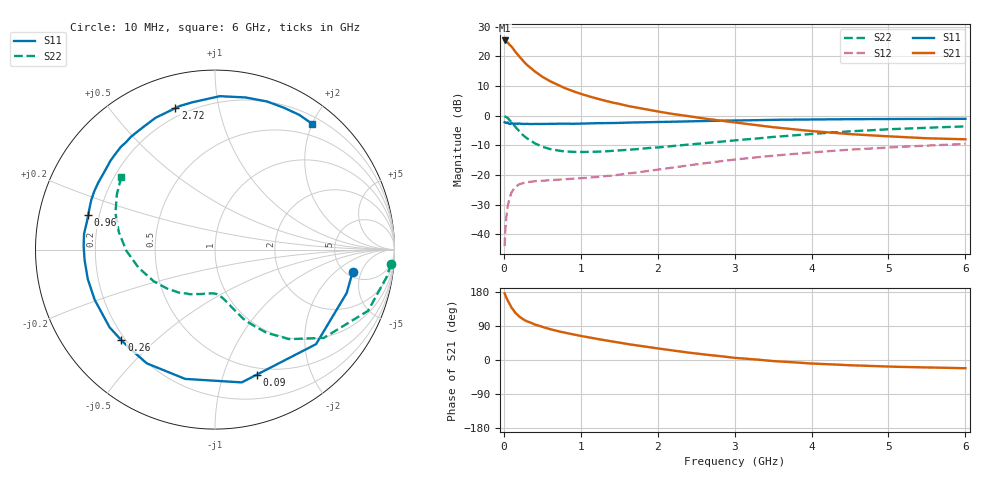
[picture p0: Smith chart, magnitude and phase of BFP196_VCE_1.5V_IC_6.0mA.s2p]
! Infineon Technologies  Discrete & RF Semiconductors
! BFP196
! VCE = 1.5 V,  IC = 6.0mA
! Common Emitter S-Parameters:  Jan 2016
# GHz  S  MA  R  50
!  f  S11  S21  S12  S22
! GHz  MAG  ANG  MAG  ANG  MAG  ANG  MAG  ANG
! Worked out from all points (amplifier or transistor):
!   210 points, 10 MHz to 6 GHz, reference 50 ohm
!   highest |S21| = 25.4 dB at 10 MHz (marker M1)
!   |S21| within 3 dB of that: start of sweep to 126 MHz
!   unconditionally stable (mu >= 1): 1.03 GHz to 3.421 GHz; 5.744 GHz to end of sweep
!   at 185 MHz: K = 0.22, MSG = 21.9 dB, |S12| = -23.4 dB
!   at 1.52 GHz: K = 1.19, MAG = 9.2 dB, |S12| = -19.8 dB
!   at 6 GHz: K = 1.00, MAG = 0.5 dB, |S12| = -9.5 dB
!   S11 on the Smith chart (normalised r, x): 10 MHz: 5.61, -3.58; 90 MHz: 0.43, -1.30; 260 MHz: 0.18, -0.39; 960 MHz: 0.16, +0.13; 2.72 GHz: 0.16, +0.75; 6 GHz: 0.31, +1.99
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0.01  0.7766 -9.4  18.58 176.0  0.0063 86.9  0.9837 -4.7
0.02  0.7726 -18.2  18.06 170.1  0.0123 81.8  0.9686 -9.0
0.05  0.771 -43.1  17.14 156.8  0.0299 68.8  0.9187 -21.8
0.09  0.7348 -71.6  15.03 142.2  0.0466 55.2  0.8018 -35.2
0.1  0.7547 -78.6  14.68 138.0  0.051 53.2  0.7806 -39.1
0.15  0.7394 -103.0  11.92 124.2  0.0628 42.6  0.6472 -50.4
0.2  0.7391 -121.0  9.994 114.7  0.0697 35.7  0.5469 -58.1
0.24  0.7267 -131.4  8.692 109.0  0.0723 31.9  0.4835 -62.4
0.26  0.7262 -135.9  8.142 106.4  0.0735 30.5  0.4575 -64.4
0.3  0.7297 -143.6  7.205 102.0  0.0755 28.6  0.416 -67.8
0.4  0.7263 -157.4  5.603 93.8  0.0786 25.0  0.3431 -73.1
0.5  0.7276 -166.9  4.538 87.2  0.0799 23.8  0.2996 -77.2
0.7  0.7322 178.4  3.306 76.1  0.0831 23.9  0.259 -84.1
0.96  0.7323 164.8  2.433 65.2  0.0874 26.3  0.2445 -91.4
1.02  0.7359 161.9  2.295 62.8  0.0885 27.1  0.2442 -93.2
1.4  0.7516 146.6  1.678 49.2  0.0973 31.9  0.255 -104.6
2.02  0.7845 125.9  1.167 30.0  0.1241 37.6  0.2927 -123.6
2.72  0.8185 105.6  0.858 12.2  0.1643 37.2  0.3546 -144.7
3.1  0.833 96.6  0.742 4.2  0.1877 34.4  0.3934 -155.9
4.1  0.8651 77.1  0.538 -10.1  0.2454 24.5  0.5032 178.2
5.1  0.8792 62.9  0.442 -17.9  0.2955 12.6  0.5968 158.0
6  0.8854 52.5  0.4 -21.7  0.3337 1.3  0.6604 142.2
